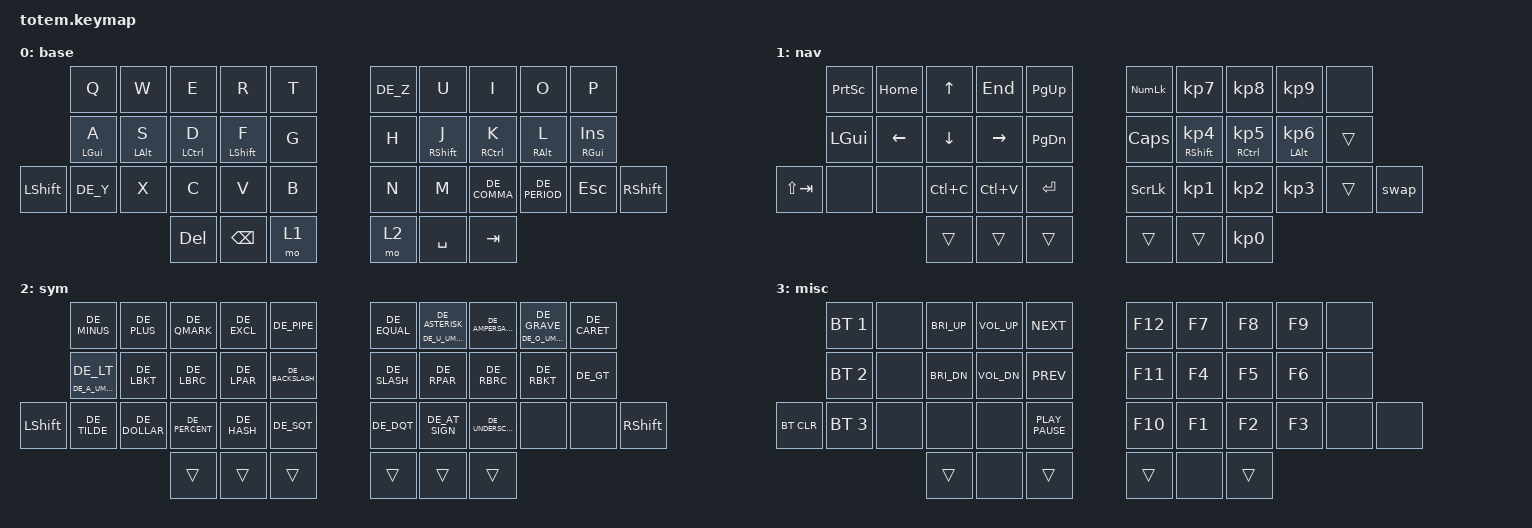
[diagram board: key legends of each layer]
#include <behaviors.dtsi>
#include <dt-bindings/zmk/bt.h>
#include <dt-bindings/zmk/keys.h>
#include <locale/keys_de_swiss.h>
#include <zmk-helpers/helper.h>
#include <zmk-helpers/key-labels/totem.h>

//                                      "zmk-helpers/key-labels/totem.h"
//
//    ┌────────────────────┬────────────────────┐        ┌──────────────────────┬─────────────────────┐
//    │  0   1   2   3   4 │  5   6   7   8   9 │        │  LT4 LT3 LT2 LT1 LT0 │ RT0 RT1 RT2 RT3 RT4 │
// ┌──┘ 10  11  12  13  14 │ 15  16  17  18  19 └───┐ ┌──┘  LM4 LM3 LM2 LM1 LM0 │ RM0 RM1 RM2 RM3 RM4 └───┐
// │ 20 21  22  23  24  25 │ 26  27  28  29  30  31 │ │ LB5 LB4 LB3 LB2 LB1 LB0 │ RB0 RB1 RB2 RB3 RB4 RB5 │
// └──────────┐ 32  33  34 │ 35  36  37 ┌───────────┘ └──────────┐  LH2 LH1 LH0 │ RH0 RH1 RH2 ┌───────────┘
//            └────────────┴────────────┘                        └──────────────┴─────────────┘
//

&mt {
    quick-tap-ms = <100>;
    global-quick-tap;
    flavor = "tap-preferred";
};

#define KEYS_LEFT LT0 LT1 LT2 LT3 LT4 LM0 LM1 LM2 LM3 LM4 LB0 LB1 LB2 LB3 LB4
#define KEYS_RIGHT RT0 RT1 RT2 RT3 RT4 RM0 RM1 RM2 RM3 RM4 RB0 RB1 RB2 RB3 RB4
#define THUMBS LH2 LH1 LH0 RH0 RH1 RH2

// left-hand HRMs
ZMK_HOLD_TAP(hml,
    flavor = "balanced";
    tapping-term-ms = <280>;
    quick-tap-ms = <175>; // repeat on tap-into-hold
    require-prior-idle-ms = <150>;
    bindings = <&kp>, <&kp>;
    hold-trigger-key-positions = <KEYS_RIGHT THUMBS>;
    hold-trigger-on-release; // delay positional check until key-release
)

// right-hand HRMs
ZMK_HOLD_TAP(hmr,
    flavor = "balanced";
    tapping-term-ms = <280>;
    quick-tap-ms = <175>; // repeat on tap-into-hold
    require-prior-idle-ms = <150>;
    bindings = <&kp>, <&kp>;
    hold-trigger-key-positions = <KEYS_LEFT THUMBS>;
    hold-trigger-on-release; // delay positional check until key-release
)

/ {
    combos {
        compatible = "zmk,combos";

        caps {
            bindings = <&caps_word>;
            key-positions = <LB5 RB5>;
            layers = <0>;
            timeout-ms = <70>;
        };

        enter {
            bindings = <&kp ENTER>;
            key-positions = <LH1 RH1>;
            layers = <0>;
            timeout-ms = <70>;
        };
    };

    behaviors {
        swap: swapper {
            compatible = "zmk,behavior-tri-state";
            label = "SWAPPER";
            #binding-cells = <0>;
            bindings = <&kt LALT>, <&kp TAB>, <&kt LALT>;
            ignored-key-positions = <LB5>; // ignored key position must match &kp LS(TAB) index
        };
    };

    keymap {
        compatible = "zmk,keymap";

        base {
            label = "base";
            bindings = <
//                   ┌──────────────────┬──────────────────┬──────────────────┬──────────────────┬──────────────────┐     ┌──────────────────┬──────────────────┬──────────────────┬──────────────────┬──────────────────┐
                      &kp Q              &kp W              &kp E              &kp R              &kp T                    &kp DE_Z           &kp U              &kp I              &kp O              &kp P
//                   ├──────────────────┼──────────────────┼──────────────────┼──────────────────┼──────────────────┤     ├──────────────────┼──────────────────┼──────────────────┼──────────────────┼──────────────────┤
                      &hml LGUI A        &hml LALT S        &hml LCTRL D       &hml LSHFT F       &kp G                    &kp H              &hmr RSHFT J       &hmr RCTRL K       &hmr RALT L        &hmr RGUI INS
//┌──────────────────┬──────────────────┼──────────────────┼──────────────────┼──────────────────┼──────────────────┤     ├──────────────────┼──────────────────┼──────────────────┼──────────────────┼──────────────────┼──────────────────┐
   &kp LSHIFT         &kp DE_Y           &kp X              &kp C              &kp V              &kp B                    &kp N              &kp M              &kp DE_COMMA       &kp DE_PERIOD      &kp ESCAPE         &kp RSHIFT
//└──────────────────┴──────────────────┴──────────────────┼──────────────────┼──────────────────┼──────────────────┤     ├──────────────────┼──────────────────┼──────────────────┴──────────────────┴──────────────────┴──────────────────┘
                                                            &kp DELETE         &kp BACKSPACE      &mo 1                    &mo 2              &kp SPACE          &kp TAB
//                                                         └──────────────────┴──────────────────┴──────────────────┘     └──────────────────┴──────────────────┴──────────────────┘
            >;
        };

        Navigation {
            label = "nav";
            bindings = <
//                   ┌──────────────────┬──────────────────┬──────────────────┬──────────────────┬──────────────────┐     ┌──────────────────┬──────────────────┬──────────────────┬──────────────────┬──────────────────┐
                      &kp PRINTSCREEN    &kp HOME           &kp UP_ARROW       &kp END            &kp PAGE_UP              &kp KP_NUMLOCK     &kp KP_N7          &kp KP_N8          &kp KP_N9          &none
//                   ├──────────────────┼──────────────────┼──────────────────┼──────────────────┼──────────────────┤     ├──────────────────┼──────────────────┼──────────────────┼──────────────────┼──────────────────┤
                      &kp LGUI           &kp LEFT           &kp DOWN           &kp RIGHT_ARROW    &kp PAGE_DOWN            &kp CAPSLOCK       &hmr RSHFT KP_N4   &hmr RCTRL KP_N5   &hmr LALT KP_N6    &trans
//┌──────────────────┬──────────────────┼──────────────────┼──────────────────┼──────────────────┼──────────────────┤     ├──────────────────┼──────────────────┼──────────────────┼──────────────────┼──────────────────┼──────────────────┐
   &kp LS(TAB)        &none              &none              &kp LC(C)          &kp LC(V)          &kp ENTER                &kp SCROLLLOCK      &kp KP_N1          &kp KP_N2          &kp KP_N3          &trans             &swap
//└──────────────────┴──────────────────┴──────────────────┼──────────────────┼──────────────────┼──────────────────┤     ├──────────────────┼──────────────────┼──────────────────┴──────────────────┴──────────────────┴──────────────────┘
                                                            &trans             &trans             &trans                   &trans             &trans             &kp KP_NUMBER_0 
//                                                         └──────────────────┴──────────────────┴──────────────────┘     └──────────────────┴──────────────────┴──────────────────┘
            >;
        };

        Symbols {
            label = "sym";
            bindings = <
//                   ┌──────────────────┬──────────────────┬──────────────────┬──────────────────┬──────────────────┐     ┌──────────────────┬──────────────────┬──────────────────┬──────────────────┬──────────────────┐
                      &kp DE_MINUS       &kp DE_PLUS        &kp DE_QMARK       &kp DE_EXCL        &kp DE_PIPE              &kp DE_EQUAL       &mt DE_U_UMLAUT DE_ASTERISK  &kp DE_AMPERSAND  &mt DE_O_UMLAUT DE_GRAVE  &kp DE_CARET
//                   ├──────────────────┼──────────────────┼──────────────────┼──────────────────┼──────────────────┤     ├──────────────────┼──────────────────┼──────────────────┼──────────────────┼──────────────────┤
                      &mt DE_A_UMLAUT DE_LT  &kp DE_LBKT    &kp DE_LBRC        &kp DE_LPAR        &kp DE_BACKSLASH         &kp DE_SLASH       &kp DE_RPAR        &kp DE_RBRC        &kp DE_RBKT        &kp DE_GT
//┌──────────────────┬──────────────────┼──────────────────┼──────────────────┼──────────────────┼──────────────────┤     ├──────────────────┼──────────────────┼──────────────────┼──────────────────┼──────────────────┼──────────────────┐
   &kp LSHIFT         &kp DE_TILDE       &kp DE_DOLLAR      &kp DE_PERCENT     &kp DE_HASH        &kp DE_SQT               &kp DE_DQT         &kp DE_AT_SIGN     &kp DE_UNDERSCORE  &none              &none              &kp RSHIFT
//└──────────────────┴──────────────────┴──────────────────┼──────────────────┼──────────────────┼──────────────────┤     ├──────────────────┼──────────────────┼──────────────────┴──────────────────┴──────────────────┴──────────────────┘
                                                            &trans             &trans             &trans                   &trans             &trans             &trans
//                                                         └──────────────────┴──────────────────┴──────────────────┘     └──────────────────┴──────────────────┴──────────────────┘
            >;
        };

        misc {
            label = "misc";
            bindings = <
//                   ┌──────────────────┬──────────────────┬──────────────────┬──────────────────┬──────────────────┐     ┌──────────────────┬──────────────────┬──────────────────┬──────────────────┬──────────────────┐
                      &bt BT_SEL 1       &none              &kp C_BRI_UP       &kp K_VOL_UP       &kp C_NEXT               &kp F12            &kp F7             &kp F8             &kp F9             &none
//                   ├──────────────────┼──────────────────┼──────────────────┼──────────────────┼──────────────────┤     ├──────────────────┼──────────────────┼──────────────────┼──────────────────┼──────────────────┤
                      &bt BT_SEL 2       &none              &kp C_BRI_DN       &kp K_VOL_DN       &kp C_PREV               &kp F11            &kp F4             &kp F5             &kp F6             &none
//┌──────────────────┬──────────────────┼──────────────────┼──────────────────┼──────────────────┼──────────────────┤     ├──────────────────┼──────────────────┼──────────────────┼──────────────────┼──────────────────┼──────────────────┐
   &bt BT_CLR         &bt BT_SEL 3       &none              &none              &none              &kp K_PLAY_PAUSE         &kp F10            &kp F1             &kp F2             &kp F3             &none              &none
//└──────────────────┴──────────────────┴──────────────────┼──────────────────┼──────────────────┼──────────────────┤     ├──────────────────┼──────────────────┼──────────────────┴──────────────────┴──────────────────┴──────────────────┘
                                                            &trans             &none              &trans                   &trans             &none              &trans
//                                                         └──────────────────┴──────────────────┴──────────────────┘     └──────────────────┴──────────────────┴──────────────────┘
            >;
        };
    };

    conditional_layers {
        compatible = "zmk,conditional-layers";

        go_to_3 {
            if-layers = <1 2>;
            then-layer = <3>;
        };
    };
};
